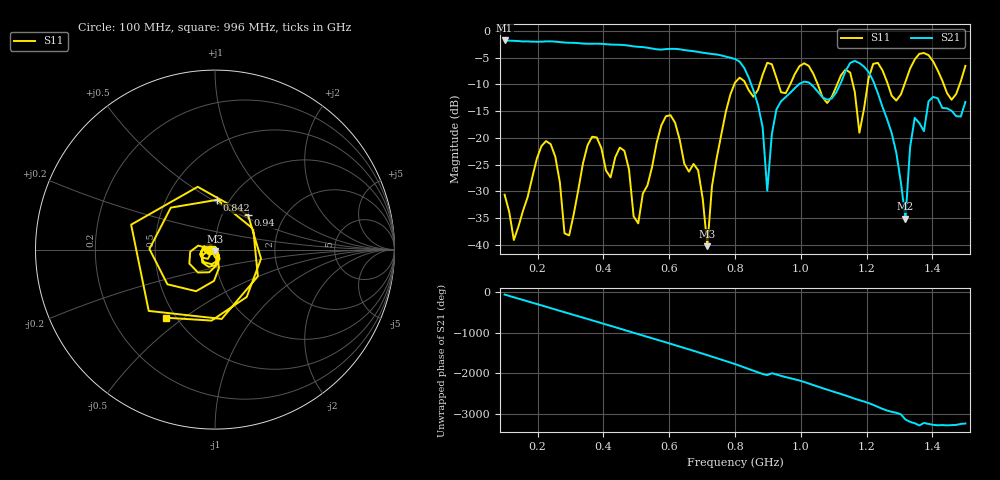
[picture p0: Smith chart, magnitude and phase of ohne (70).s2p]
! NanoVNA-App
! Date: 2025-09-25 14:21:21
! Start: 100MHz Stop: 1,5GHz Points: 101
! S-Parameter data: F S11 S21 S12 S22
# Hz S RI R 50
!  Frequency  S11_Real  S11_Imag  S21_Real  S21_Imag  S12_Real  S12_Imag  S22_Real  S22_Imag
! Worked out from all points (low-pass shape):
!   101 points, 100 MHz to 1.5 GHz, reference 50 ohm
!   highest |S21| = -1.79 dB at 100 MHz (marker M1); lowest = -35.1 dB at 1.318 GHz (marker M2)
!   |S21| within 3 dB of the highest: start of sweep to 770.5 MHz
!   lowest |S11| = -40.3 dB at 716 MHz (marker M3), VSWR 1.02, Z = 49.8 - j0.947 ohm
!   |S11| at or under -10 dB: start of sweep to 798 MHz; 833 MHz to 875.1 MHz (42.1 MHz wide, 4.93 % of centre); 1.052 GHz to 1.111 GHz (59.02 MHz wide, 5.46 % of centre)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
!   S12 and S22 are empty: the file has one direction only
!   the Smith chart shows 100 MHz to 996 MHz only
!   S11 on the Smith chart (normalised r, x): 100 MHz: 0.94, -0.01; 842 MHz: 0.88, +0.53; 940 MHz: 1.32, +0.55; 996 MHz: 0.44, -0.43
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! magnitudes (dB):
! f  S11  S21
! 100 MHz  -30.6  -1.8
! 128 MHz  -39.1  -1.9
! 226 MHz  -20.6  -2.0
! 296 MHz  -38.3  -2.2
! 338 MHz  -24.8  -2.4
! 464 MHz  -22.4  -2.7
! 506 MHz  -36.0  -3.0
! 576 MHz  -17.7  -3.5
! 688 MHz  -26.1  -3.9
! 716 MHz  -40.3  -4.2
! 800 MHz  -9.7  -5.3
! 842 MHz  -11.1  -8.8
! 898 MHz  -6.0  -29.9
! 940 MHz  -11.5  -13.2
! 996 MHz  -6.6  -9.9
! 1.038 GHz  -8.0  -10.4
! 1.178 GHz  -19.0  -6.0
! 1.22 GHz  -6.2  -9.4
! 1.276 GHz  -12.1  -19.1
! 1.318 GHz  -9.5  -35.1
! 1.346 GHz  -5.4  -16.3
! 1.5 GHz  -6.6  -13.3
